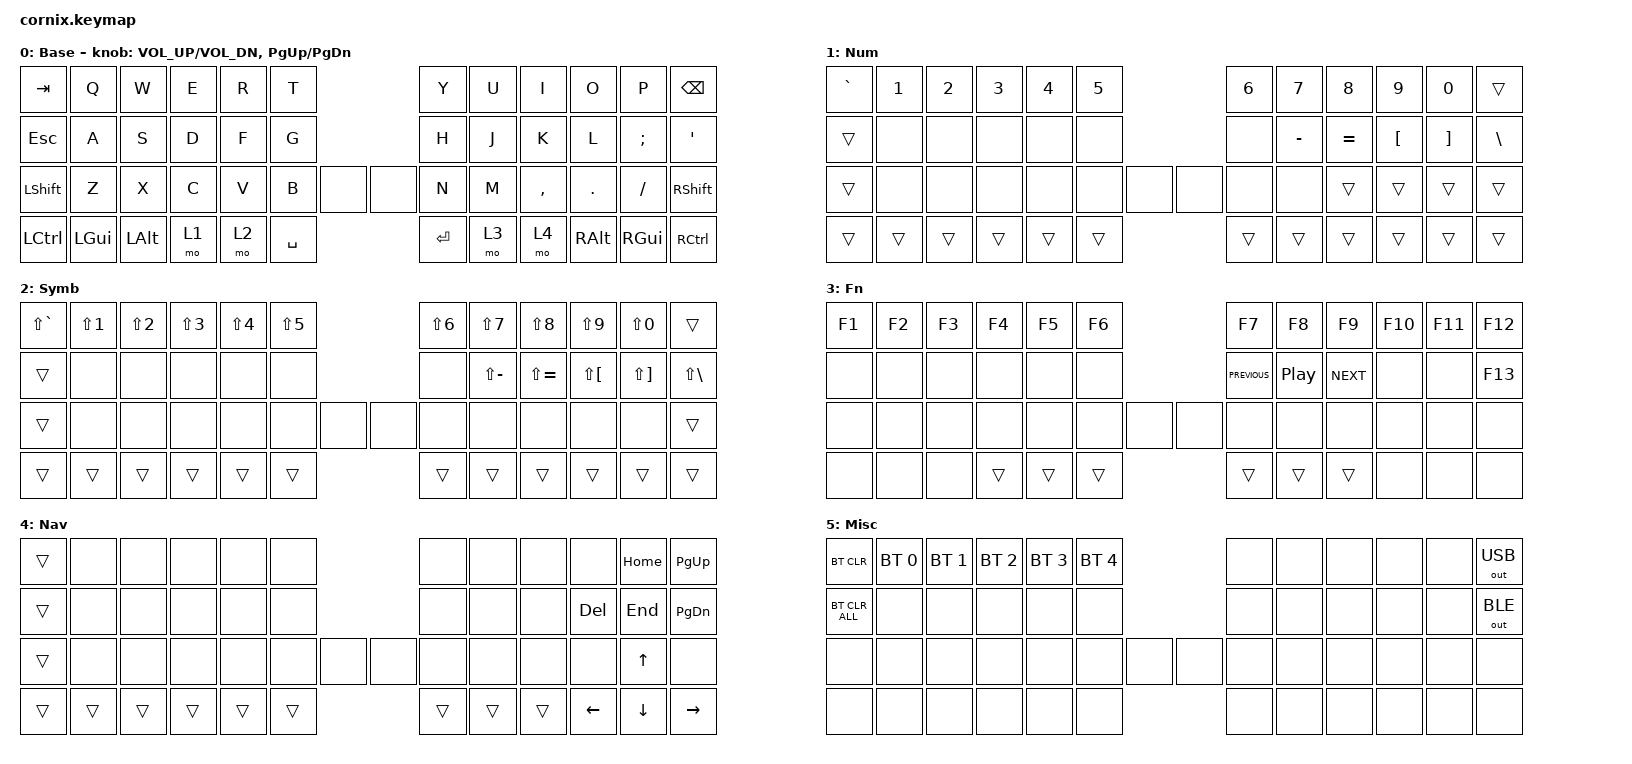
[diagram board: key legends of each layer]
/*
 * Copyright (c) 2020 The ZMK Contributors
 *
 * SPDX-License-Identifier: MIT
 */

#include "zmk-helpers/helper.h"
#include "includes/cornix54.h"
#include <behaviors.dtsi>
#include <dt-bindings/zmk/bt.h>
#include <dt-bindings/zmk/keys.h>

#define ZMK_POINTING_DEFAULT_SCRL_VAL 15

#include <behaviors.dtsi>
#include <dt-bindings/zmk/bt.h>
#include <dt-bindings/zmk/ext_power.h>
#include <dt-bindings/zmk/keys.h>
#include <dt-bindings/zmk/outputs.h>
#include <dt-bindings/zmk/pointing.h>

/ {
    conditional_layers {
        compatible = "zmk,conditional-layers";

        Misc {
            if-layers = <2 3>;
            then-layer = <5>;
        };
    };

    keymap {
        compatible = "zmk,keymap";

        default_layer {
            display-name = "Base";
            bindings = <
&kp TAB    &kp Q     &kp W     &kp E  &kp R  &kp T                    &kp Y      &kp U  &kp I      &kp O     &kp P     &kp BSPC
&kp ESC    &kp A     &kp S     &kp D  &kp F  &kp G                    &kp H      &kp J  &kp K      &kp L     &kp SEMI  &kp APOS
&kp LSHFT  &kp Z     &kp X     &kp C  &kp V  &kp B      &none  &none  &kp N      &kp M  &kp COMMA  &kp DOT   &kp FSLH  &kp RSHFT
&kp LCTRL  &kp LGUI  &kp LALT  &mo 1  &mo 2  &kp SPACE                &kp ENTER  &mo 3  &mo 4      &kp RALT  &kp RGUI  &kp RCTRL
            >;

            sensor-bindings = <&inc_dec_kp C_VOL_UP C_VOL_DN &inc_dec_kp PG_UP PG_DN>;
        };

        number_layer {
            bindings = <
&kp GRAVE  &kp N1  &kp N2  &kp N3  &kp N4  &kp N5                &kp N6  &kp N7     &kp N8     &kp N9    &kp N0    &trans
&trans     &none   &none   &none   &none   &none                 &none   &kp MINUS  &kp EQUAL  &kp LBKT  &kp RBKT  &kp BSLH
&trans     &none   &none   &none   &none   &none   &none  &none  &none   &none      &trans     &trans    &trans    &trans
&trans     &trans  &trans  &trans  &trans  &trans                &trans  &trans     &trans     &trans    &trans    &trans
            >;

            label = "Num";
        };

        symbol_layer {
            bindings = <
&kp LS(GRAVE)  &kp LS(N1)  &kp LS(N2)  &kp LS(N3)  &kp LS(N4)  &kp LS(N5)                &kp LS(N6)  &kp LS(N7)     &kp LS(N8)     &kp LS(N9)    &kp LS(N0)    &trans
&trans         &none       &none       &none       &none       &none                     &none       &kp LS(MINUS)  &kp LS(EQUAL)  &kp LS(LBKT)  &kp LS(RBKT)  &kp LS(BSLH)
&trans         &none       &none       &none       &none       &none       &none  &none  &none       &none          &none          &none         &none         &trans
&trans         &trans      &trans      &trans      &trans      &trans                    &trans      &trans         &trans         &trans        &trans        &trans
            >;

            label = "Symb";
        };

        function_layer {
            bindings = <
&kp F1  &kp F2  &kp F3  &kp F4  &kp F5  &kp F6                &kp F7          &kp F8            &kp F9      &kp F10  &kp F11  &kp F12
&none   &none   &none   &none   &none   &none                 &kp C_PREVIOUS  &kp C_PLAY_PAUSE  &kp C_NEXT  &none    &none    &kp F13
&none   &none   &none   &none   &none   &none   &none  &none  &none           &none             &none       &none    &none    &none
&none   &none   &none   &trans  &trans  &trans                &trans          &trans            &trans      &none    &none    &none
            >;

            label = "Fn";
        };

        navigation_layer {
            bindings = <
&trans  &none   &none   &none   &none   &none                 &none   &none   &none   &none       &kp HOME  &kp PAGE_UP
&trans  &none   &none   &none   &none   &none                 &none   &none   &none   &kp DELETE  &kp END   &kp PAGE_DOWN
&trans  &none   &none   &none   &none   &none   &none  &none  &none   &none   &none   &none       &kp UP    &none
&trans  &trans  &trans  &trans  &trans  &trans                &trans  &trans  &trans  &kp LEFT    &kp DOWN  &kp RIGHT
            >;

            label = "Nav";
        };

        misc_layer {
            bindings = <
&bt BT_CLR      &bt BT_SEL 0  &bt BT_SEL 1  &bt BT_SEL 2  &bt BT_SEL 3  &bt BT_SEL 4                &none  &none  &none  &none  &none  &out OUT_USB
&bt BT_CLR_ALL  &none         &none         &none         &none         &none                       &none  &none  &none  &none  &none  &out OUT_BLE
&none           &none         &none         &none         &none         &none         &none  &none  &none  &none  &none  &none  &none  &none
&none           &none         &none         &none         &none         &none                       &none  &none  &none  &none  &none  &none
            >;

            label = "Misc";
        };
    };
};
